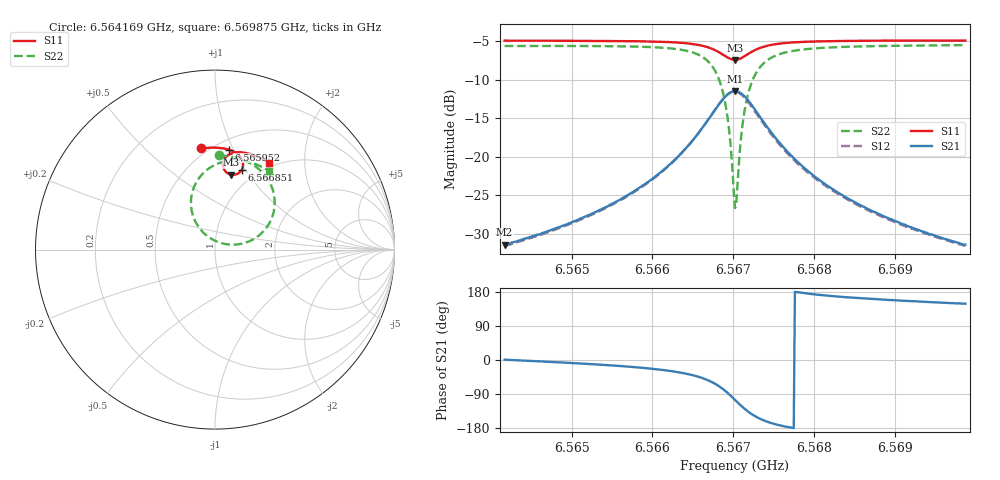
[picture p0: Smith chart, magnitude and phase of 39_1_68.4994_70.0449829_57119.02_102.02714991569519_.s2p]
#  HZ  S  RI  R  50.00
! Rohde & Schwarz Vector Network Analyzer
! Rohde-Schwarz,ZNB20-2Port,1311601062101988,3.16
! Created: UTC 3/20/2024, 5:05:24 PM
! freq[Hz]  re:S11  im:S11  re:S21  im:S21  re:S12  im:S12  re:S22  im:S22
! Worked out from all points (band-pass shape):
!   401 points, 6.564169 GHz to 6.569875 GHz, reference 50 ohm
!   highest |S21| = -11.47 dB at 6.567022 GHz (marker M1); lowest = -31.5 dB at 6.564169 GHz (marker M2)
!   |S21| within 3 dB of the highest: 6.566737 GHz to 6.567308 GHz (571 kHz wide, 0.0087 % of centre)
!   lowest |S11| = -7.4 dB at 6.567022 GHz (marker M3), VSWR 2.49, Z = 40.7 + j41.6 ohm
!   |S11| at or under -10 dB: nowhere
!   |S22| runs from -26.7 to -5.5 dB; largest |S21 - S12| = 0.012
!   S11 on the Smith chart (normalised r, x): 6.564169 GHz: 0.46, +0.76; 6.565952 GHz: 0.59, +0.96; 6.566851 GHz: 0.85, +0.97; 6.569875 GHz: 0.93, +1.34
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6.5641691e9  -0.0773 0.5637  0.0267 0.000367  0.0262 -0.000183  0.0218 0.5247
6.5651248e9  0.00021 0.5679  0.0392 -0.0066  0.0386 -0.00702  0.1099 0.5135
6.5659522e9  0.0755 0.5576  0.0637 -0.0261  0.0626 -0.0268  0.2112 0.4724
6.5660806e9  0.0886 0.5533  0.0703 -0.033  0.0692 -0.0338  0.2319 0.4584
6.5663944e9  0.1237 0.5349  0.0905 -0.0636  0.0889 -0.0648  0.2902 0.3978
6.5666084e9  0.148 0.5077  0.1038 -0.1107  0.1013 -0.1128  0.3284 0.307
6.566751e9  0.1568 0.4753  0.0974 -0.1675  0.0931 -0.1703  0.3243 0.1989
6.5668509e9  0.1491 0.4452  0.0665 -0.2192  0.0594 -0.2217  0.2703 0.1019
6.5668937e9  0.1395 0.4325  0.0414 -0.2398  0.0329 -0.2417  0.2249 0.0641
6.5669365e9  0.1254 0.4225  0.00887 -0.2557  -0.00106 -0.2557  0.1656 0.037
6.5670078e9  0.0951 0.4166  -0.057 -0.2606  -0.0679 -0.2562  0.0479 0.0329
6.5670221e9  0.0887 0.4176  -0.0705 -0.2576  -0.0812 -0.2525  0.0243 0.0395
6.5670506e9  0.0766 0.4216  -0.0964 -0.2479  -0.106 -0.2408  -0.0196 0.0596
6.5671076e9  0.0571 0.4368  -0.1383 -0.2158  -0.145 -0.206  -0.088 0.1215
6.5671504e9  0.0483 0.4517  -0.1585 -0.1856  -0.1629 -0.1751  -0.1186 0.1767
6.5672075e9  0.0443 0.4723  -0.1714 -0.1451  -0.1726 -0.1351  -0.1338 0.2487
6.5672788e9  0.0481 0.4945  -0.1711 -0.1017  -0.1701 -0.0932  -0.1253 0.3239
6.5675356e9  0.0873 0.534  -0.1282 -0.0219  -0.1254 -0.0184  -0.0282 0.4564
6.5679778e9  0.1459 0.5421  -0.0761 0.00825  -0.0743 0.00929  0.0932 0.4968
6.5684058e9  0.1882 0.5347  -0.0522 0.0135  -0.0511 0.014  0.1625 0.493
6.5689336e9  0.2326 0.5197  -0.0367 0.0146  -0.0359 0.0148  0.2225 0.4771
6.5698751e9  0.3008 0.4851  -0.0228 0.014  -0.0223 0.0141  0.3021 0.4386
